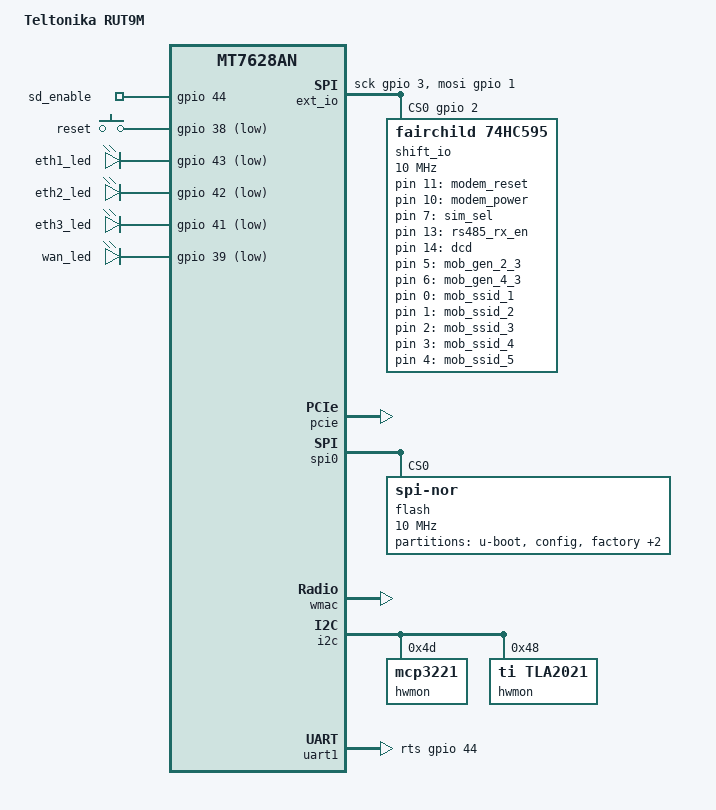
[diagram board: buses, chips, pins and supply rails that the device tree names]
// SPDX-License-Identifier: GPL-2.0-or-later OR MIT
/dts-v1/;

#include <dt-bindings/input/input.h>
#include <dt-bindings/gpio/gpio.h>
#include "mt7628an.dtsi"
#include "platform_name.dtsi"

/ {
	compatible = "teltonika,rut9m", "mediatek,mt7628an-soc";
	model = "Teltonika RUT9M";

	chosen {
		bootargs = "console=ttyS0,115200";
	};

	ext_io {
		compatible = "spi-gpio";
		#address-cells = <1>;
		#size-cells = <0>;

		gpio-sck = <&gpio 3 GPIO_ACTIVE_HIGH>;  // SRCLK
		gpio-mosi = <&gpio 1 GPIO_ACTIVE_HIGH>; // SER
		cs-gpios = <&gpio 2 GPIO_ACTIVE_HIGH>;  // RCLK
		num-chipselects = <1>;

		shift_io: shift_io@0 {
			compatible = "fairchild,74hc595";
			reg = <0>;
			gpio-controller;
			#gpio-cells = <2>;
			registers-number = <2>;
			spi-max-frequency = <10000000>;
		};
	};

	gpio-export {
		compatible = "gpio-export";
		#size-cells = <0>;

		sd_enable {
			gpio-export,name = "sd_enable";
			gpio-export,output = <1>;
			gpios = <&gpio 44 GPIO_ACTIVE_HIGH>;
		};

		gpio_modem_reset {
			gpio-export,name = "modem_reset";
			gpio-export,output = <0>;
			gpios = <&shift_io 11 GPIO_ACTIVE_HIGH>;
		};

		gpio_modem_power {
			gpio-export,name = "modem_power";
			gpio-export,output = <0>;
			gpios = <&shift_io 10 GPIO_ACTIVE_HIGH>;
		};

		gpio_sim_select {
			gpio-export,name = "sim_sel";
			gpio-export,output = <1>;
			gpios = <&shift_io 7 GPIO_ACTIVE_HIGH>;
		};

		gpio_rs485_rx_en {
			gpio-export,name = "rs485_rx_en";
			gpio-export,output = <0>;
			gpios = <&shift_io 13 GPIO_ACTIVE_HIGH>;
		};

		gpio_dcd {
			gpio-export,name = "dcd";
			gpio-export,output = <0>;
			gpios = <&shift_io 14 GPIO_ACTIVE_HIGH>;
		};
	};

	keys {
		compatible = "gpio-keys";

		reset {
			label = "reset";
			linux,code = <KEY_RESTART>;
			gpios = <&gpio 38 GPIO_ACTIVE_LOW>;
			debounce-interval = <60>;
		};
	};

	leds {
		compatible = "gpio-leds";

		eth1_led {
			label = "eth1_led";
			gpios = <&gpio 43 GPIO_ACTIVE_LOW>;
		};

		eth2_led {
			label = "eth2_led";
			gpios = <&gpio 42 GPIO_ACTIVE_LOW>;
		};

		eth3_led {
			label = "eth3_led";
			gpios = <&gpio 41 GPIO_ACTIVE_LOW>;
		};

		wan_led {
			label = "wan_led";
			gpios = <&gpio 39 GPIO_ACTIVE_LOW>;
		};

		led_gen_2_3 {
			label = "mob_gen_2_3";
			gpios = <&shift_io 5 GPIO_ACTIVE_HIGH>;
		};

		led_gen_4_3 {
			label = "mob_gen_4_3";
			gpios = <&shift_io 6 GPIO_ACTIVE_HIGH>;
		};

		led_ssid_1 {
			label = "mob_ssid_1";
			gpios = <&shift_io 0 GPIO_ACTIVE_HIGH>;
			linux,default-trigger = "timer";
		};

		led_ssid_2 {
			label = "mob_ssid_2";
			gpios = <&shift_io 1 GPIO_ACTIVE_HIGH>;
			linux,default-trigger = "timer";
		};

		led_ssid_3 {
			label = "mob_ssid_3";
			gpios = <&shift_io 2 GPIO_ACTIVE_HIGH>;
			linux,default-trigger = "timer";
		};

		led_ssid_4 {
			label = "mob_ssid_4";
			gpios = <&shift_io 3 GPIO_ACTIVE_HIGH>;
			linux,default-trigger = "timer";
		};

		led_ssid_5 {
			label = "mob_ssid_5";
			gpios = <&shift_io 4 GPIO_ACTIVE_HIGH>;
			linux,default-trigger = "timer";
		};
	};
};

&state_default {
	gpio {
		groups = "i2s", "p4led_an", "p3led_an", "p2led_an", "p1led_an", "p0led_an", "gpio", "wled_an", "perst", "refclk", "spi cs1";
		function = "gpio";
	};
};

&pcie {
	status = "okay";
};

&pcie0 {
	mt76@0,0 {
		reg = <0x0000 0 0 0 0>;
		mediatek,mtd-eeprom = <&factory 0x28000>;
		ieee80211-freq-limit = <5000000 6000000>;
		mtd-mac-address = <&factory 0xf100>;
		mtd-mac-address-increment = <(-1)>;
	};
};

&spi0 {
	status = "okay";

	flash@0 {
		compatible = "jedec,spi-nor";
		reg = <0>;
		spi-max-frequency = <10000000>;

		partitions {
			compatible = "fixed-partitions";
			#address-cells = <1>;
			#size-cells = <1>;

			partition@0 {
				label = "u-boot";
				reg = <0x0 0x20000>;
				read-only;
			};

			config: partition@20000 {
				label = "config";
				reg = <0x020000 0x010000>;
				read-only;
			};

			factory: partition@30000 {
				label = "factory";
				reg = <0x030000 0x030000>;
				read-only;
			};

			partition@60000 {
				compatible = "denx,uimage";
				label = "firmware";
				reg = <0x060000 0xf10000>;
			};

			partition@f70000 {
				label = "event-log";
				reg = <0xf70000 0x90000>;
			};
		};
	};
};

&wmac {
	status = "okay";
	mtd-mac-address = <&config 0x0>;
	mtd-mac-address-increment = <2>;
	mediatek,mtd-eeprom = <&factory 0x20000>;
};

&ethernet {
	mtd-mac-address = <&config 0x0>;
};

&esw {
	mediatek,portmap = <0x2f>;
};

&i2c {
	status = "okay";
	hwmon@0x4d {
		compatible = "mcp3221";
		reg = <0x4d>;
		reference-voltage-microvolt = <3300000>;
	};

	hwmon@0x48 {
		compatible = "ti,tla2021";
		reg = <0x48>;
	};
};

&uart1 {
	linux,rs485-enabled-at-boot-time;
	rs485-rts-delay = <0 0>;
	rs485-rx-during-tx;
	rts-gpios = <&gpio 44 GPIO_ACTIVE_HIGH>;
	status = "okay";
};
